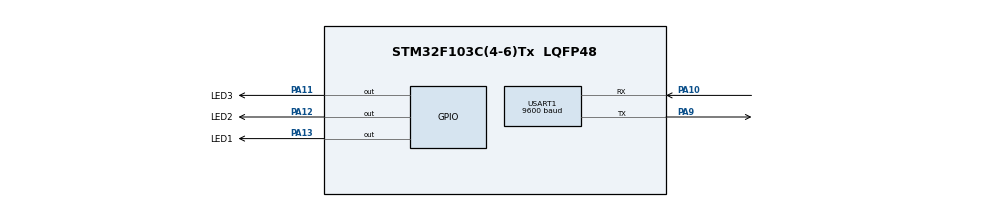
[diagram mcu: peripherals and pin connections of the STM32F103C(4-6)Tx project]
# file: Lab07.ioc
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Mcu.Family=STM32F1
Mcu.Name=STM32F103C(4-6)Tx
Mcu.Package=LQFP48
NVIC.PriorityGroup=NVIC_PRIORITYGROUP_4
NVIC.USART1_IRQn=true\:0\:0\:false\:false\:true\:true\:true
PA10.Mode=Asynchronous
PA10.Signal=USART1_RX
PA11.GPIO_Label=LED3
PA11.Signal=GPIO_Output
PA12.GPIO_Label=LED2
PA12.Signal=GPIO_Output
PA13.GPIO_Label=LED1
PA13.Signal=GPIO_Output
PA9.Mode=Asynchronous
PA9.Signal=USART1_TX
ProjectManager.HeapSize=0x200
ProjectManager.StackSize=0x400
ProjectManager.TargetToolchain=STM32CubeIDE
RCC.APB1Freq_Value=8000000
RCC.APB2Freq_Value=8000000
USART1.BaudRate=9600
USART1.VirtualMode=VM_ASYNC
VP_SYS_VS_ND.Mode=No_Debug
board=custom

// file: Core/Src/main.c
/* USER CODE BEGIN Header */
/**
  ******************************************************************************
  * @file           : main.c
  * @brief          : Main program body
  ******************************************************************************
  * @attention
  *
  * <h2><center>&copy; Copyright (c) 2021 STMicroelectronics.
  * All rights reserved.</center></h2>
  *
  * This software component is licensed by ST under BSD 3-Clause license,
  * the "License"; You may not use this file except in compliance with the
  * License. You may obtain a copy of the License at:
  *                        opensource.org/licenses/BSD-3-Clause
  *
  ******************************************************************************
  */
/* USER CODE END Header */
#include "main.h"

/* USER CODE BEGIN Includes */
#include <stdbool.h>
/* USER CODE END Includes */

UART_HandleTypeDef huart1;

/* USER CODE BEGIN PV */
uint8_t str[1];
bool RxCompleted = false;
bool TxCompleted = true;
/* USER CODE END PV */

void SystemClock_Config(void);
static void MX_GPIO_Init(void);
static void MX_USART1_UART_Init(void);

/* USER CODE BEGIN 0 */
	int counter, i = 0;
	bool state = true;
	bool state2 = false;
/* USER CODE END 0 */

int main(void)
{

  /* MCU Configuration--------------------------------------------------------*/

  /* Reset of all peripherals, Initializes the Flash interface and the Systick. */
  HAL_Init();

  /* Configure the system clock */
  SystemClock_Config();

  /* Initialize all configured peripherals */
  MX_GPIO_Init();
  MX_USART1_UART_Init();
  /* USER CODE BEGIN 2 */
  HAL_UART_Receive_IT(&huart1, str, 1);
  /* USER CODE END 2 */

  /* Infinite loop */
  while (1)
  {
	  if (str[0] == '0') HAL_GPIO_WritePin(LED1_GPIO_Port, LED1_Pin, GPIO_PIN_SET);
	  if (str[0] == '1') HAL_GPIO_WritePin(LED1_GPIO_Port, LED1_Pin, GPIO_PIN_RESET);
	  if (str[0] == '2') HAL_GPIO_WritePin(LED1_GPIO_Port, LED2_Pin, GPIO_PIN_RESET);
	  if (str[0] == '3') HAL_GPIO_WritePin(LED1_GPIO_Port, LED2_Pin, GPIO_PIN_SET);
	  if (str[0] == 'a' && HAL_GPIO_ReadPin(GPIOA, LED3_Pin) == 1 && state == true) HAL_GPIO_WritePin(LED1_GPIO_Port, LED3_Pin, GPIO_PIN_RESET);
	  if (str[0] == 'a' && HAL_GPIO_ReadPin(GPIOA, LED3_Pin) == 1  && state == false) HAL_GPIO_WritePin(LED1_GPIO_Port, LED3_Pin, GPIO_PIN_SET);
	  if (str[0] == 'a' && HAL_GPIO_ReadPin(GPIOA, LED3_Pin) == 0  && state == true) HAL_GPIO_WritePin(LED1_GPIO_Port, LED3_Pin, GPIO_PIN_SET);
	  if (str[0] == 'a' && HAL_GPIO_ReadPin(GPIOA, LED3_Pin) == 0  && state == false) HAL_GPIO_WritePin(LED1_GPIO_Port, LED3_Pin, GPIO_PIN_RESET);
	  /*{
		  if(state == true)
		  {
			  if(i != counter)
			  {
				  state = false;
			  }
		  }
		  if(state == false)
		  {
			  state2 = !state2;
			  state = true;
			  i = counter;
		  }
	  }
	  if(state2) HAL_GPIO_WritePin(LED1_GPIO_Port, LED3_Pin, GPIO_PIN_RESET);
	  if(!state2) HAL_GPIO_WritePin(LED1_GPIO_Port, LED3_Pin, GPIO_PIN_SET);
*/
  }
}

void SystemClock_Config(void)
{
  RCC_OscInitTypeDef RCC_OscInitStruct = {0};
  RCC_ClkInitTypeDef RCC_ClkInitStruct = {0};

  /** Initializes the RCC Oscillators according to the specified parameters
  * in the RCC_OscInitTypeDef structure.
  */
  RCC_OscInitStruct.OscillatorType = RCC_OSCILLATORTYPE_HSI;
  RCC_OscInitStruct.HSIState = RCC_HSI_ON;
  RCC_OscInitStruct.HSICalibrationValue = RCC_HSICALIBRATION_DEFAULT;
  RCC_OscInitStruct.PLL.PLLState = RCC_PLL_NONE;
  if (HAL_RCC_OscConfig(&RCC_OscInitStruct) != HAL_OK)
  {
    Error_Handler();
  }
  /** Initializes the CPU, AHB and APB buses clocks
  */
  RCC_ClkInitStruct.ClockType = RCC_CLOCKTYPE_HCLK|RCC_CLOCKTYPE_SYSCLK
                              |RCC_CLOCKTYPE_PCLK1|RCC_CLOCKTYPE_PCLK2;
  RCC_ClkInitStruct.SYSCLKSource = RCC_SYSCLKSOURCE_HSI;
  RCC_ClkInitStruct.AHBCLKDivider = RCC_SYSCLK_DIV1;
  RCC_ClkInitStruct.APB1CLKDivider = RCC_HCLK_DIV1;
  RCC_ClkInitStruct.APB2CLKDivider = RCC_HCLK_DIV1;

  if (HAL_RCC_ClockConfig(&RCC_ClkInitStruct, FLASH_LATENCY_0) != HAL_OK)
  {
    Error_Handler();
  }
}

static void MX_USART1_UART_Init(void)
{

  huart1.Instance = USART1;
  huart1.Init.BaudRate = 9600;
  huart1.Init.WordLength = UART_WORDLENGTH_8B;
  huart1.Init.StopBits = UART_STOPBITS_1;
  huart1.Init.Parity = UART_PARITY_NONE;
  huart1.Init.Mode = UART_MODE_TX_RX;
  huart1.Init.HwFlowCtl = UART_HWCONTROL_NONE;
  huart1.Init.OverSampling = UART_OVERSAMPLING_16;
  if (HAL_UART_Init(&huart1) != HAL_OK)
  {
    Error_Handler();
  }

}

static void MX_GPIO_Init(void)
{
  GPIO_InitTypeDef GPIO_InitStruct = {0};

  /* GPIO Ports Clock Enable */
  __HAL_RCC_GPIOA_CLK_ENABLE();

  /*Configure GPIO pin Output Level */
  HAL_GPIO_WritePin(GPIOA, LED3_Pin|LED2_Pin|LED1_Pin, GPIO_PIN_SET);

  /*Configure GPIO pins : LED3_Pin LED2_Pin LED1_Pin */
  GPIO_InitStruct.Pin = LED3_Pin|LED2_Pin|LED1_Pin;
  GPIO_InitStruct.Mode = GPIO_MODE_OUTPUT_PP;
  GPIO_InitStruct.Pull = GPIO_NOPULL;
  GPIO_InitStruct.Speed = GPIO_SPEED_FREQ_LOW;
  HAL_GPIO_Init(GPIOA, &GPIO_InitStruct);

}

/* USER CODE BEGIN 4 */
void HAL_UART_RxCpltCallback(UART_HandleTypeDef *huart)
{
	if(huart == &huart1) {
		RxCompleted = true;

		if (TxCompleted == true) {
			TxCompleted = false;
			HAL_UART_Transmit_IT(&huart1, str, 1);
		}
	}
}

void HAL_UART_TxCpltCallback(UART_HandleTypeDef *huart)
{
	if(huart == &huart1) {
		TxCompleted = true;

		if (RxCompleted == true) {
			RxCompleted = false;
			HAL_UART_Receive_IT(&huart1, str, 1);
			state = !state;
		}
	}
}

/* USER CODE END 4 */

void Error_Handler(void)
{
  __disable_irq();
  while (1)
  {
  }
}

/************************ (C) COPYRIGHT STMicroelectronics *****END OF FILE****/
